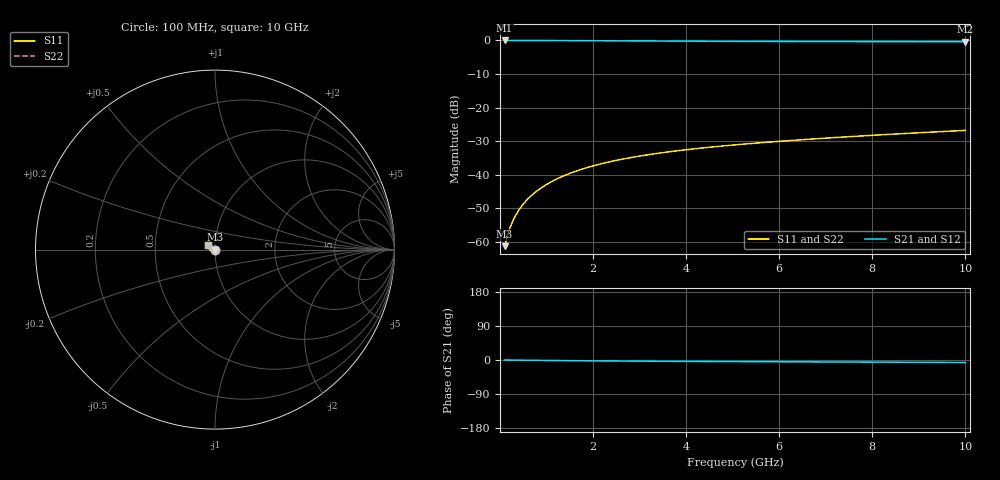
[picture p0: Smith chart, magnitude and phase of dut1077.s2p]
! Touchstone file exported from HFSS 2024.1.0
!  File:  C:/UserFiles/LocalFiles/RDL_TSV_Batchsim/temp_TSV1_1077_1780065120.aedt
!  Generated:  10:40:31 PM May 29, 2026
!  Design:  TSV1
!  Project:  temp_TSV1_1077_1780065120
!  Setup:  Setup1
!  Solution:  Sweep
! Variables:
!  dtsv = 5.86um
!  hbump = 3um
!  htsv = 99.95um
!  lrdl = 252.1521522um
!  p = 40
!  p1 = 48.48um
!  t = 500um
!  trdl = 3um
!  wrdl = 24.89489489um
# GHz S MA R 50.000000
! Terminal data exported
! Port[1] = TSV22_T1
! Port[2] = TSV22_T2
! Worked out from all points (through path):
!   100 points, 100 MHz to 10 GHz, reference 50 ohm
!   highest |S21| = 0.00 dB at 100 MHz (marker M1); lowest = -0.4 dB at 10 GHz (marker M2)
!   lowest |S11| = -61.3 dB at 100 MHz (marker M3), VSWR 1.00, Z = 50 - j0.0732 ohm
!   |S11| at or under -10 dB: start of sweep to end of sweep
!   |S22| runs from -61.3 to -26.8 dB; largest |S21 - S12| = 3.2e-15
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0.1  0.0008591 -58.3  0.9995 -0.1  0.9995 -0.1  0.0008591 -58.3
! Gamma 0 0 0 0
! Port Impedance 50 0 50 0
0.2  0.001523 -75.8  0.9994 -0.2  0.9994 -0.2  0.001523 -75.8
0.3  0.002224 -83.8  0.9992 -0.4  0.9992 -0.4  0.002224 -83.8
0.4  0.002933 -89.0  0.9991 -0.5  0.9991 -0.5  0.002933 -89.0
0.5  0.003644 -93.0  0.9988 -0.6  0.9988 -0.6  0.003644 -93.0
0.6  0.004352 -96.4  0.9985 -0.7  0.9985 -0.7  0.004352 -96.4
0.7  0.005056 -99.3  0.9982 -0.8  0.9982 -0.8  0.005056 -99.3
0.8  0.005755 -102.1  0.9978 -1.0  0.9978 -1.0  0.005755 -102.1
0.9  0.006448 -104.7  0.9973 -1.1  0.9973 -1.1  0.006448 -104.7
1.1  0.007812 -109.5  0.9964 -1.3  0.9964 -1.3  0.007812 -109.5
1.4  0.009796 -116.2  0.9946 -1.6  0.9946 -1.6  0.009796 -116.2
1.6  0.01107 -120.5  0.9933 -1.8  0.9933 -1.8  0.01107 -120.5
1.8  0.01231 -124.5  0.9919 -2.0  0.9919 -2.0  0.01231 -124.5
2.1  0.01409 -130.3  0.9898 -2.3  0.9898 -2.3  0.01409 -130.3
2.5  0.01632 -137.6  0.9868 -2.6  0.9868 -2.6  0.01632 -137.6
2.9  0.0184 -144.3  0.9838 -2.9  0.9838 -2.9  0.0184 -144.3
3.4  0.02082 -152.1  0.9801 -3.3  0.9801 -3.3  0.02082 -152.1
4.2  0.02435 -163.3  0.9749 -3.8  0.9749 -3.8  0.02435 -163.3
5.1  0.02797 -174.1  0.9699 -4.2  0.9699 -4.2  0.02797 -174.1
6.7  0.03391 170.3  0.9632 -5.0  0.9632 -5.0  0.03391 170.3
8.4  0.03996 157.5  0.9583 -5.8  0.9583 -5.8  0.03996 157.5
10  0.04563 147.8  0.955 -6.5  0.955 -6.5  0.04563 147.8
